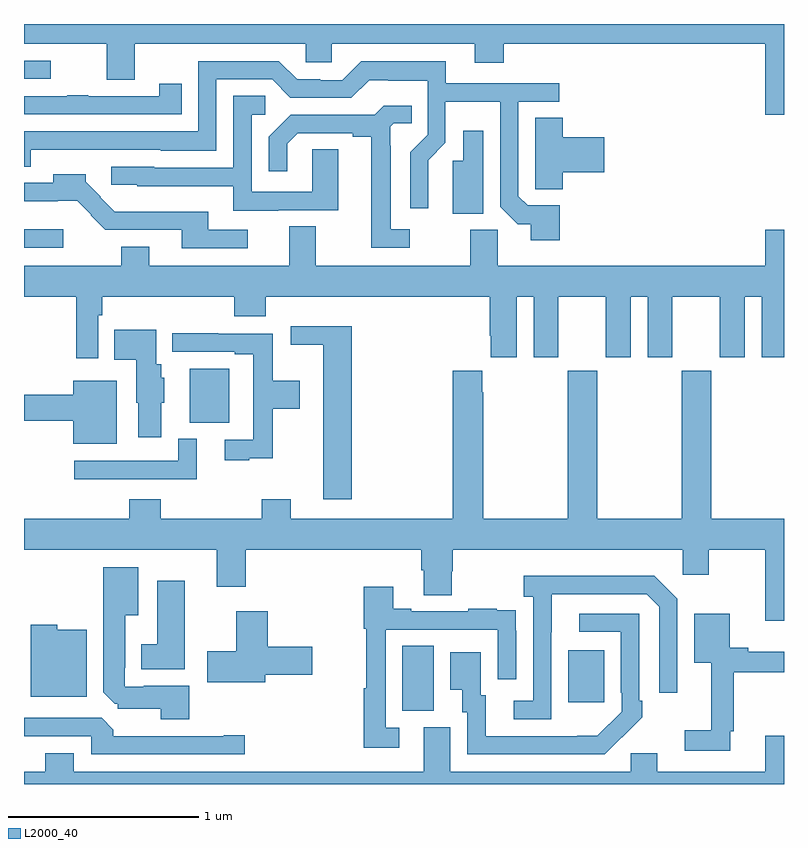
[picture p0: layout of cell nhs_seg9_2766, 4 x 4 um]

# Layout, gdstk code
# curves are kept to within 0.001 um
import gdstk
lib = gdstk.Library(unit=1e-6, precision=1e-09)
def R(c, l, rs):  # rectangles x0, y0, x1, y1
    for r in rs: c.add(gdstk.rectangle(r[:2], r[2:], *l))
def P(c, l, *ps):  # polygons
    for p in ps: c.add(gdstk.Polygon(p, *l))
L2000_40 = (2000, 40)

nhs_seg9_2766 = lib.new_cell('nhs_seg9_2766')
R(nhs_seg9_2766, L2000_40, [(270.992,1216.885,271.156,1217.228), (271.865,1216.929,272.053,1217.203), (269.873,1218.401,270.079,1218.685), (269,1219.323,269.206,1219.42), (269,1220.211,269.14,1220.307)])
P(nhs_seg9_2766, L2000_40, [(273,1220.5),(269,1220.5),(269,1220.396),(269.435,1220.396),(269.435,1220.206),(269.583,1220.206),(269.583,1220.396),(270.483,1220.396),(270.483,1220.298),(270.621,1220.298),(270.621,1220.396),(271.373,1220.396),(271.373,1220.297),(271.526,1220.297),(271.526,1220.396),(272.9,1220.396),(272.9,1220.022),(273,1220.022)],
  [(271.82,1219.545),(271.65,1219.545),(271.602,1219.593),(271.602,1220.091),(271.816,1220.091),(271.816,1220.187),(271.219,1220.187),(271.219,1220.305),(270.775,1220.305),(270.675,1220.205),(270.558,1220.205),(270.558,1220.208),(270.438,1220.208),(270.342,1220.304),(269.916,1220.304),(269.916,1219.935),(269,1219.935),(269,1219.75),(269.035,1219.75),(269.035,1219.838),(269.721,1219.839),(269.721,1219.832),(270.012,1219.832),(270.012,1220.208),(270.306,1220.208),(270.402,1220.112),(270.723,1220.112),(270.816,1220.205),(270.916,1220.205),(270.916,1220.201),(271.125,1220.201),(271.125,1219.917),(271.032,1219.824),(271.032,1219.53),(271.128,1219.53),(271.127,1219.782),(271.218,1219.874),(271.218,1220.09),(271.506,1220.09),(271.506,1219.539),(271.599,1219.447),(271.667,1219.447),(271.667,1219.362),(271.82,1219.362)],
  [(269.831,1220.185),(269.713,1220.185),(269.713,1220.121),(269.339,1220.121),(269.339,1220.126),(269.227,1220.126),(269.227,1220.121),(269,1220.121),(269,1220.025),(269.831,1220.025)],
  [(270.337,1219.521),(270.655,1219.521),(270.655,1219.841),(270.516,1219.841),(270.516,1219.617),(270.198,1219.617),(270.198,1220.022),(270.271,1220.022),(270.271,1220.123),(270.102,1220.123),(270.102,1219.743),(269.685,1219.743),(269.685,1219.749),(269.46,1219.749),(269.46,1219.653),(269.595,1219.653),(269.595,1219.646),(270.101,1219.646),(270.101,1219.517),(270.337,1219.517)],
  [(271.03,1219.419),(270.931,1219.419),(270.931,1219.859),(270.927,1219.859),(270.927,1219.959),(270.945,1219.977),(271.04,1219.977),(271.04,1220.069),(270.894,1220.069),(270.846,1220.022),(270.404,1220.022),(270.288,1219.906),(270.288,1219.725),(270.385,1219.725),(270.385,1219.869),(270.442,1219.926),(270.731,1219.926),(270.731,1219.906),(270.827,1219.906),(270.827,1219.323),(271.03,1219.323)],
  [(271.835,1219.721),(272.053,1219.721),(272.053,1219.904),(271.835,1219.904),(271.835,1220.006),(271.691,1220.006),(271.691,1219.738),(271.692,1219.738),(271.692,1219.63),(271.835,1219.63)],
  [(271.417,1219.939),(271.313,1219.939),(271.313,1219.779),(271.256,1219.779),(271.256,1219.501),(271.417,1219.501)],
  [(270.178,1219.416),(269.971,1219.416),(269.971,1219.513),(269.578,1219.513),(269.578,1219.511),(269.477,1219.511),(269.4,1219.587),(269.403,1219.59),(269.324,1219.669),(269.324,1219.708),(269.153,1219.708),(269.153,1219.665),(269,1219.665),(269,1219.568),(269.279,1219.569),(269.353,1219.495),(269.351,1219.493),(269.427,1219.416),(269.831,1219.416),(269.831,1219.32),(270.178,1219.32)],
  [(271.494,1219.416),(271.348,1219.416),(271.348,1219.228),(270.535,1219.228),(270.535,1219.436),(270.395,1219.436),(270.395,1219.228),(269.659,1219.228),(269.659,1219.327),(269.512,1219.327),(269.512,1219.228),(269,1219.228),(269,1219.064),(269.275,1219.064),(269.275,1218.741),(269.391,1218.741),(269.391,1218.968),(269.411,1218.968),(269.411,1219.064),(270.107,1219.064),(270.107,1218.962),(270.272,1218.962),(270.272,1219.064),(271.451,1219.064),(271.451,1218.859),(271.457,1218.859),(271.457,1218.747),(271.594,1218.747),(271.594,1219.064),(271.682,1219.064),(271.682,1218.747),(271.813,1218.747),(271.813,1219.064),(272.063,1219.064),(272.063,1218.747),(272.194,1218.747),(272.194,1219.064),(272.282,1219.064),(272.282,1218.747),(272.413,1218.747),(272.413,1219.064),(272.663,1219.064),(272.663,1218.747),(272.794,1218.747),(272.794,1219.064),(272.882,1219.064),(272.882,1218.747),(273,1218.747),(273,1219.417),(272.9,1219.417),(272.9,1219.228),(271.494,1219.228)],
  [(270.725,1218.91),(270.405,1218.91),(270.405,1218.812),(270.575,1218.812),(270.575,1218),(270.725,1218)],
  [(269.722,1218.507),(269.737,1218.507),(269.737,1218.639),(269.722,1218.639),(269.722,1218.708),(269.695,1218.708),(269.695,1218.892),(269.476,1218.892),(269.476,1218.734),(269.591,1218.734),(269.591,1218.507),(269.6,1218.507),(269.6,1218.324),(269.722,1218.324)],
  [(270.185,1218.215),(270.308,1218.215),(270.308,1218.475),(270.451,1218.475),(270.451,1218.622),(270.308,1218.622),(270.308,1218.87),(270.023,1218.87),(270.023,1218.872),(269.781,1218.872),(269.781,1218.774),(270.11,1218.774),(270.11,1218.762),(270.207,1218.762),(270.207,1218.312),(270.057,1218.312),(270.057,1218.204),(270.185,1218.204)],
  [(269.555,1217.998),(269.555,1217.896),(269,1217.896),(269,1217.732),(270.014,1217.732),(270.014,1217.538),(270.167,1217.538),(270.167,1217.732),(271.091,1217.732),(271.091,1217.626),(271.103,1217.626),(271.103,1217.494),(271.251,1217.494),(271.251,1217.619),(271.256,1217.619),(271.256,1217.732),(272.466,1217.732),(272.466,1217.601),(272.605,1217.601),(272.605,1217.732),(272.9,1217.732),(272.9,1217.358),(273,1217.358),(273,1217.896),(272.616,1217.896),(272.616,1218.676),(272.461,1218.676),(272.461,1217.896),(272.016,1217.896),(272.016,1218.676),(271.861,1218.676),(271.861,1217.896),(271.416,1217.896),(271.416,1218.563),(271.411,1218.563),(271.411,1218.676),(271.256,1218.676),(271.256,1217.896),(270.403,1217.896),(270.403,1217.998),(270.251,1217.998),(270.251,1217.896),(269.72,1217.896),(269.72,1217.998)],
  [(269.488,1218.622),(269.258,1218.622),(269.258,1218.548),(269,1218.548),(269,1218.412),(269.258,1218.412),(269.258,1218.29),(269.488,1218.29)],
  [(269.908,1218.316),(269.811,1218.316),(269.811,1218.201),(269.265,1218.201),(269.265,1218.105),(269.908,1218.105)],
  [(269.869,1217.017),(269.629,1217.017),(269.629,1217.013),(269.529,1217.013),(269.529,1217.113),(269.533,1217.113),(269.533,1217.387),(269.602,1217.387),(269.602,1217.641),(269.417,1217.641),(269.417,1216.983),(269.477,1216.923),(269.493,1216.923),(269.493,1216.896),(269.72,1216.896),(269.72,1216.841),(269.869,1216.841)],
  [(271.776,1217.299),(271.777,1217.499),(272.277,1217.499),(272.343,1217.433),(272.343,1216.98),(272.439,1216.98),(272.439,1217.475),(272.318,1217.596),(271.629,1217.596),(271.629,1217.486),(271.68,1217.486),(271.68,1216.938),(271.578,1216.938),(271.578,1216.842),(271.776,1216.842)],
  [(269.845,1217.569),(269.702,1217.569),(269.702,1217.236),(269.618,1217.236),(269.618,1217.105),(269.845,1217.105)],
  [(270.976,1216.797),(270.903,1216.797),(270.903,1217.313),(271.494,1217.313),(271.494,1217.052),(271.59,1217.052),(271.59,1217.306),(271.589,1217.306),(271.589,1217.415),(271.487,1217.415),(271.487,1217.422),(271.339,1217.422),(271.339,1217.409),(271.039,1217.409),(271.039,1217.422),(270.943,1217.422),(270.943,1217.539),(270.787,1217.539),(270.787,1217.316),(270.802,1217.316),(270.802,1217.004),(270.787,1217.004),(270.787,1216.692),(270.976,1216.692)],
  [(270.271,1217.075),(270.517,1217.075),(270.517,1217.222),(270.284,1217.222),(270.284,1217.41),(270.116,1217.41),(270.116,1217.199),(269.964,1217.199),(269.964,1217.036),(270.271,1217.036)],
  [(272.147,1216.747),(272.148,1216.746),(272.253,1216.851),(272.253,1216.939),(272.238,1216.939),(272.238,1217.397),(271.923,1217.397),(271.923,1217.301),(272.142,1217.301),(272.142,1216.981),(272.145,1216.981),(272.145,1216.881),(272.017,1216.753),(271.429,1216.752),(271.429,1216.968),(271.405,1216.968),(271.405,1217.194),(271.244,1217.194),(271.244,1216.997),(271.307,1216.997),(271.307,1216.878),(271.332,1216.878),(271.332,1216.656),(272.056,1216.656)],
  [(272.717,1216.777),(272.735,1216.777),(272.735,1217.088),(273,1217.088),(273,1217.197),(272.812,1217.197),(272.812,1217.216),(272.715,1217.216),(272.715,1217.395),(272.528,1217.395),(272.528,1217.138),(272.618,1217.138),(272.618,1216.783),(272.478,1216.783),(272.478,1216.674),(272.717,1216.674)],
  [(269.329,1217.311),(269.175,1217.311),(269.175,1217.338),(269.036,1217.338),(269.036,1216.958),(269.329,1216.958)],
  [(270.163,1216.757),(270.05,1216.757),(270.05,1216.752),(269.471,1216.752),(269.471,1216.786),(269.409,1216.848),(269,1216.848),(269,1216.752),(269.355,1216.752),(269.355,1216.656),(270.163,1216.656)],
  [(273,1216.753),(272.9,1216.753),(272.9,1216.564),(272.332,1216.564),(272.332,1216.662),(272.193,1216.662),(272.193,1216.564),(271.243,1216.564),(271.243,1216.8),(271.103,1216.8),(271.103,1216.564),(269.263,1216.564),(269.263,1216.663),(269.111,1216.663),(269.111,1216.564),(269,1216.564),(269,1216.5),(273,1216.5)])

lib.write_gds('nhs_seg9_2766.gds')
